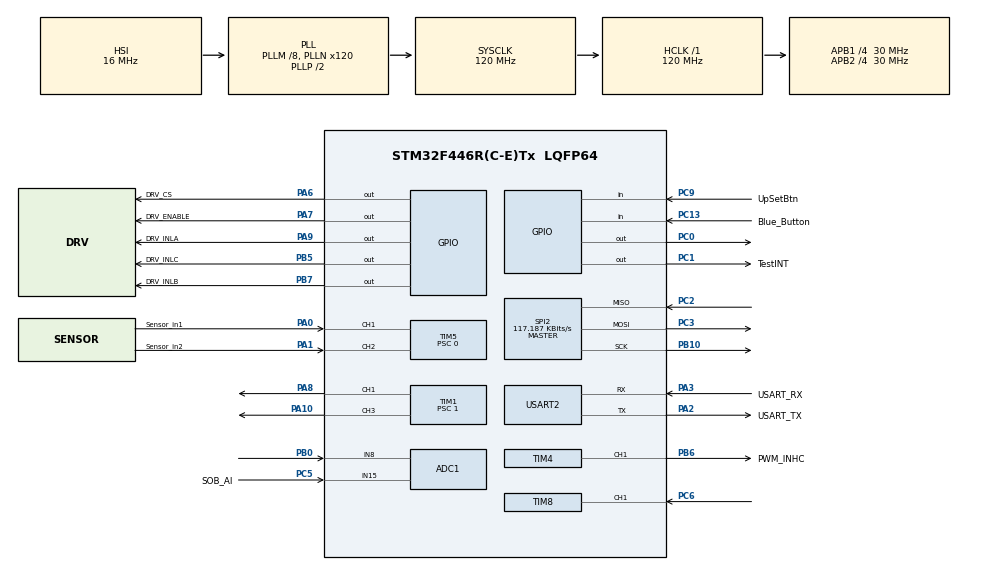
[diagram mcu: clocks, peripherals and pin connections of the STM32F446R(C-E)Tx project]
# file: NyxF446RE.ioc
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ADC1.Channel-0\#ChannelRegularConversion=ADC_CHANNEL_15
ADC1.Channel-2\#ChannelInjectedConversion=ADC_CHANNEL_8
ADC1.Channel-3\#ChannelInjectedConversion=ADC_CHANNEL_15
ADC1.DMAContinuousRequests=DISABLE
ADC1.EOCSelection=ADC_EOC_SINGLE_CONV
ADC1.ExternalTrigConv=ADC_SOFTWARE_START
ADC1.ExternalTrigConvEdge=ADC_EXTERNALTRIGCONVEDGE_NONE
ADC1.ExternalTrigInjecConv=ADC_EXTERNALTRIGINJECCONV_T2_TRGO
ADC1.InjNumberOfConversion=2
ADC1.InjectedOffset-2\#ChannelInjectedConversion=0
ADC1.InjectedOffset-3\#ChannelInjectedConversion=0
ADC1.InjectedRank-2\#ChannelInjectedConversion=1
ADC1.InjectedRank-3\#ChannelInjectedConversion=2
ADC1.NbrOfConversion=1
ADC1.NbrOfConversionFlag=1
ADC1.Rank-0\#ChannelRegularConversion=1
ADC1.SamplingTime-0\#ChannelRegularConversion=ADC_SAMPLETIME_15CYCLES
ADC1.SamplingTime-2\#ChannelInjectedConversion=ADC_SAMPLETIME_3CYCLES
ADC1.SamplingTime-3\#ChannelInjectedConversion=ADC_SAMPLETIME_3CYCLES
ADC1.ScanConvMode=ENABLE
ADC1.master=1
FREERTOS.HEAP_NUMBER=4
FREERTOS.INCLUDE_xEventGroupSetBitFromISR=1
FREERTOS.INCLUDE_xTaskAbortDelay=0
FREERTOS.Tasks01=defaultTask,24,128,StartDefaultTask,Default,NULL,Static,defaultTaskBuffer,defaultTaskControlBlock;ComputationINT,8,128,ComputationINTfunc,Default,NULL,Static,ComputationINTBuffer,ComputationINTControlBlock;testTask500ms,40,512,testTask500msFunc,Default,NULL,Static,testTask500msBuffer,testTask500msControlBlock
FREERTOS.configENABLE_FPU=1
FREERTOS.configUSE_NEWLIB_REENTRANT=1
Mcu.Family=STM32F4
Mcu.Name=STM32F446R(C-E)Tx
Mcu.Package=LQFP64
NVIC.PriorityGroup=NVIC_PRIORITYGROUP_4
NVIC.TIM1_UP_TIM10_IRQn=true\:5\:0\:false\:false\:true\:true\:false\:true
NVIC.TIM5_IRQn=true\:5\:0\:false\:true\:true\:2\:true\:true\:true
NVIC.TIM6_DAC_IRQn=true\:15\:0\:false\:false\:true\:false\:false\:true
NVIC.TIM8_CC_IRQn=true\:5\:0\:false\:true\:true\:1\:true\:true\:true
NVIC.TIM8_UP_TIM13_IRQn=true\:5\:0\:false\:false\:true\:true\:true\:true
NVIC.TimeBase=TIM6_DAC_IRQn
NVIC.TimeBaseIP=TIM6
PA0-WKUP.GPIO_Label=Sensor_in1
PA0-WKUP.GPIO_Speed=GPIO_SPEED_FREQ_HIGH
PA0-WKUP.Signal=S_TIM5_CH1
PA1.GPIO_Label=Sensor_in2
PA1.GPIO_Speed=GPIO_SPEED_FREQ_HIGH
PA1.Signal=S_TIM5_CH2
PA10.Signal=S_TIM1_CH3
PA13.GPIO_Label=TMS
PA13.Mode=Serial_Wire
PA13.Signal=SYS_JTMS-SWDIO
PA14.GPIO_Label=TCK
PA14.Mode=Serial_Wire
PA14.Signal=SYS_JTCK-SWCLK
PA2.GPIO_Label=USART_TX
PA2.Mode=Asynchronous
PA2.Signal=USART2_TX
PA3.GPIO_Label=USART_RX
PA3.Mode=Asynchronous
PA3.Signal=USART2_RX
PA6.GPIO_Label=DRV_CS
PA6.GPIO_ModeDefaultOutputPP=GPIO_MODE_OUTPUT_PP
PA6.GPIO_PuPd=GPIO_PULLDOWN
PA6.GPIO_Speed=GPIO_SPEED_FREQ_MEDIUM
PA6.Signal=GPIO_Output
PA7.GPIO_Label=DRV_ENABLE
PA7.GPIO_PuPd=GPIO_NOPULL
PA7.GPIO_Speed=GPIO_SPEED_FREQ_LOW
PA7.PinState=GPIO_PIN_SET
PA7.Signal=GPIO_Output
PA8.Signal=S_TIM1_CH1
PA9.GPIO_Label=DRV_INLA
PA9.Signal=GPIO_Output
PB0.Signal=ADCx_IN8
PB10.Mode=Full_Duplex_Master
PB10.Signal=SPI2_SCK
PB3.GPIO_Label=SWO
PB3.Signal=SYS_JTDO-SWO
PB5.GPIO_Label=DRV_INLC
PB5.Signal=GPIO_Output
PB6.GPIO_Label=PWM_INHC
PB6.Signal=S_TIM4_CH1
PB7.GPIO_Label=DRV_INLB
PB7.Signal=GPIO_Output
PC0.Signal=GPIO_Output
PC1.GPIO_Label=TestINT
PC1.GPIO_PuPd=GPIO_PULLDOWN
PC1.Signal=GPIO_Output
PC13.GPIO_Label=Blue_Button
PC13.GPIO_PuPd=GPIO_PULLDOWN
PC13.Signal=GPIO_Input
PC14-OSC32_IN.Signal=RCC_OSC32_IN
PC15-OSC32_OUT.Signal=RCC_OSC32_OUT
PC2.Mode=Full_Duplex_Master
PC2.Signal=SPI2_MISO
PC3.Mode=Full_Duplex_Master
PC3.Signal=SPI2_MOSI
PC5.GPIO_Label=SOB_AI
PC5.Signal=ADCx_IN15
PC6.GPIO_Speed=GPIO_SPEED_FREQ_MEDIUM
PC6.Signal=S_TIM8_CH1
PC9.GPIO_Label=UpSetBtn
PC9.GPIO_PuPd=GPIO_NOPULL
PC9.Signal=GPIO_Input
ProjectManager.HeapSize=0x200
ProjectManager.StackSize=0x400
ProjectManager.TargetToolchain=STM32CubeIDE
RCC.48MHZClocksFreq_Value=84000000
RCC.AHBFreq_Value=120000000
RCC.APB1CLKDivider=RCC_HCLK_DIV4
RCC.APB1Freq_Value=30000000
RCC.APB1TimFreq_Value=60000000
RCC.APB2CLKDivider=RCC_HCLK_DIV4
RCC.APB2Freq_Value=30000000
RCC.APB2TimFreq_Value=60000000
RCC.CortexFreq_Value=120000000
RCC.FLatency-AdvancedSettings=FLASH_LATENCY_3
RCC.HCLKFreq_Value=120000000
RCC.HSE_VALUE=8000000
RCC.HSI_VALUE=16000000
RCC.PLLM=8
RCC.PLLN=120
RCC.SYSCLKFreq_VALUE=120000000
RCC.SYSCLKSource=RCC_SYSCLKSOURCE_PLLCLK
RCC.USBFreq_Value=120000000
RCC.VCOOutputFreq_Value=240000000
SH.ADCx_IN15.0=ADC1_IN15,IN15
SH.ADCx_IN8.0=ADC1_IN8,IN8
SH.S_TIM1_CH1.0=TIM1_CH1,PWM Generation1 CH1
SH.S_TIM1_CH3.0=TIM1_CH3,PWM Generation3 CH3
SH.S_TIM4_CH1.0=TIM4_CH1,PWM Generation1 CH1
SH.S_TIM5_CH1.0=TIM5_CH1,Encoder_Interface
SH.S_TIM5_CH2.0=TIM5_CH2,Encoder_Interface
SH.S_TIM8_CH1.0=TIM8_CH1,PWM_Input_1
SPI2.BaudRatePrescaler=SPI_BAUDRATEPRESCALER_256
SPI2.CLKPhase=SPI_PHASE_2EDGE
SPI2.CalculateBaudRate=117.187 KBits/s
SPI2.DataSize=SPI_DATASIZE_16BIT
SPI2.Direction=SPI_DIRECTION_2LINES
SPI2.Mode=SPI_MODE_MASTER
SPI2.VirtualType=VM_MASTER
TIM1.Channel-PWM\ Generation1\ CH1=TIM_CHANNEL_1
TIM1.Channel-PWM\ Generation3\ CH3=TIM_CHANNEL_3
TIM1.CounterMode=TIM_COUNTERMODE_CENTERALIGNED3
TIM1.LockLevel=TIM_LOCKLEVEL_1
TIM1.OCPolarity_1=TIM_OCPOLARITY_LOW
TIM1.OCPolarity_3=TIM_OCPOLARITY_LOW
TIM1.Period=500
TIM1.Prescaler=1
TIM1.TIM_MasterOutputTrigger=TIM_TRGO_ENABLE
TIM1.TIM_MasterSlaveMode=TIM_MASTERSLAVEMODE_DISABLE
TIM10.Period=375
TIM10.Prescaler=8
TIM2.Period=999
TIM2.Prescaler=1
TIM2.TIM_MasterOutputTrigger=TIM_TRGO_UPDATE
TIM4.Channel-PWM\ Generation1\ CH1=TIM_CHANNEL_1
TIM4.CounterMode=TIM_COUNTERMODE_CENTERALIGNED3
TIM4.OCPolarity_1=TIM_OCPOLARITY_LOW
TIM4.Period=500
TIM4.Prescaler=1
TIM4.Pulse-PWM\ Generation1\ CH1=0
TIM4.TIM_MasterOutputTrigger=TIM_TRGO_UPDATE
TIM4.TIM_MasterSlaveMode=TIM_MASTERSLAVEMODE_DISABLE
TIM5.AutoReloadPreload=TIM_AUTORELOAD_PRELOAD_ENABLE
TIM5.EncoderMode=TIM_ENCODERMODE_TI12
TIM5.IC1Filter=0
TIM5.IC2Filter=0
TIM5.Prescaler=0
TIM8.ICFilter_1=15
TIM8.ICFilter_2=15
TIM8.Period=4096
TIM8.Prescaler=27
USART2.VirtualMode=VM_ASYNC
VP_FREERTOS_VS_CMSIS_V2.Mode=CMSIS_V2
VP_SYS_VS_tim6.Mode=TIM6
VP_TIM10_VS_ClockSourceINT.Mode=Enable_Timer
VP_TIM1_VS_ClockSourceINT.Mode=Internal
VP_TIM2_VS_ClockSourceINT.Mode=Internal
VP_TIM2_VS_ClockSourceITR.Mode=TriggerSource_ITR0
VP_TIM2_VS_ControllerModeReset.Mode=Reset Mode
VP_TIM4_VS_ClockSourceINT.Mode=Internal
VP_TIM4_VS_ClockSourceITR.Mode=TriggerSource_ITR0
VP_TIM4_VS_ControllerModeReset.Mode=Reset Mode
VP_TIM8_VS_ClockSourceINT.Mode=Internal
board=NUCLEO-F446RE

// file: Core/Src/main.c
/* USER CODE BEGIN Header */
/**
  ******************************************************************************
  * @file           : main.c
  * @brief          : Main program body
  ******************************************************************************
  * @attention
  *
  * <h2><center>&copy; Copyright (c) 2021 STMicroelectronics.
  * All rights reserved.</center></h2>
  *
  * This software component is licensed by ST under BSD 3-Clause license,
  * the "License"; You may not use this file except in compliance with the
  * License. You may obtain a copy of the License at:
  *                        opensource.org/licenses/BSD-3-Clause
  *
  ******************************************************************************
  */
/* USER CODE END Header */
#include "main.h"
#include "cmsis_os.h"
#include "adc.h"
#include "spi.h"
#include "tim.h"
#include "usart.h"
#include "gpio.h"

/* USER CODE BEGIN Includes */

#include "MotorControlLib.h"
#include "MotorControlLib_types.h"
#include "InterfaceBswApp.h"
#include "limits.h"
/* USER CODE END Includes */

/* USER CODE BEGIN PD */
volatile uint16_t ICValueFalling=0;
volatile uint16_t ICValueRising=0;
/* USER CODE END PD */

/* USER CODE BEGIN PM */
#define  ARM_CM_DEMCR      (*(uint32_t *)0xE000EDFC)

#define  ARM_CM_DWT_CTRL   (*(uint32_t *)0xE0001000)

#define  ARM_CM_DWT_CYCCNT (*(uint32_t *)0xE0001004)
/* USER CODE END PM */

/* USER CODE BEGIN PV */
extern void initialise_monitor_handles(void);
/* USER CODE END PV */

void SystemClock_Config(void);
void MX_FREERTOS_Init(void);
static void MX_NVIC_Init(void);
/* USER CODE BEGIN PFP */
volatile uint16_t adcBuffer[3]; // Buffer for store the results of the ADC conversion
volatile uint16_t DmaBuffer[3]; // Buffer for store the results of the ADC-DMA conversion
int16_t autoCalADCVal[2];
volatile uint16_t Duty;
uint32_t PWMICTimerSpeed;
volatile uint8_t switch_dca_input=0;
RCC_ClkInitTypeDef ClockInfos;
uint8_t zero=0;
/* USER CODE END PFP */

int main(void)
{

  /* MCU Configuration--------------------------------------------------------*/

  /* Reset of all peripherals, Initializes the Flash interface and the Systick. */
  HAL_Init();

  /* USER CODE BEGIN Init */
  DebugCntr = ((uint32_t*) 0xE0001004);
  /* USER CODE END Init */

  /* Configure the system clock */
  SystemClock_Config();

  /* USER CODE BEGIN SysInit */
  //MX_DMA_Init();
  /* USER CODE END SysInit */

  /* Initialize all configured peripherals */
  MX_GPIO_Init();
  MX_USART2_UART_Init();
  MX_ADC1_Init();
  MX_TIM8_Init();
  MX_SPI2_Init();
  MX_TIM5_Init();
  MX_TIM10_Init();
  MX_TIM1_Init();
  MX_TIM4_Init();
  MX_TIM2_Init();

  /* Initialize interrupts */
  MX_NVIC_Init();
  /* USER CODE BEGIN 2 */
  SET_BIT(htim8.Instance->CR1,TIM_CR1_URS); //Set timer overflow as interrupt source.
  SET_BIT(htim5.Instance->CR1,TIM_CR1_URS); //Set timer overflow as interrupt source.
  SET_BIT(htim5.Instance->DIER,TIM_DIER_UIE); //Enable interrupt.
  MotorControlLib_initialize();
  //ConvertPWMtoAngle(&zero);
  //PWMICTimerSpeed = CalculateTimerSpeedForPWMInput(&htim8); /* Todo check the correct clock to be used for pwm IC*/
#ifdef SEMIHOSTING
  initialise_monitor_handles(); /* Semihosting specific*/
#endif
  /* USER CODE END 2 */

  /* Init scheduler */
  osKernelInitialize();  /* Call init function for freertos objects (in freertos.c) */
  MX_FREERTOS_Init();
  /* Start scheduler */
  osKernelStart();

  /* We should never get here as control is now taken by the scheduler */
  /* Infinite loop */
  while (1)
  {

  }
}

void SystemClock_Config(void)
{
  RCC_OscInitTypeDef RCC_OscInitStruct = {0};
  RCC_ClkInitTypeDef RCC_ClkInitStruct = {0};

  /** Configure the main internal regulator output voltage
  */
  __HAL_RCC_PWR_CLK_ENABLE();
  __HAL_PWR_VOLTAGESCALING_CONFIG(PWR_REGULATOR_VOLTAGE_SCALE3);
  /** Initializes the RCC Oscillators according to the specified parameters
  * in the RCC_OscInitTypeDef structure.
  */
  RCC_OscInitStruct.OscillatorType = RCC_OSCILLATORTYPE_HSI;
  RCC_OscInitStruct.HSIState = RCC_HSI_ON;
  RCC_OscInitStruct.HSICalibrationValue = RCC_HSICALIBRATION_DEFAULT;
  RCC_OscInitStruct.PLL.PLLState = RCC_PLL_ON;
  RCC_OscInitStruct.PLL.PLLSource = RCC_PLLSOURCE_HSI;
  RCC_OscInitStruct.PLL.PLLM = 8;
  RCC_OscInitStruct.PLL.PLLN = 120;
  RCC_OscInitStruct.PLL.PLLP = RCC_PLLP_DIV2;
  RCC_OscInitStruct.PLL.PLLQ = 2;
  RCC_OscInitStruct.PLL.PLLR = 2;
  if (HAL_RCC_OscConfig(&RCC_OscInitStruct) != HAL_OK)
  {
    Error_Handler();
  }
  /** Initializes the CPU, AHB and APB buses clocks
  */
  RCC_ClkInitStruct.ClockType = RCC_CLOCKTYPE_HCLK|RCC_CLOCKTYPE_SYSCLK
                              |RCC_CLOCKTYPE_PCLK1|RCC_CLOCKTYPE_PCLK2;
  RCC_ClkInitStruct.SYSCLKSource = RCC_SYSCLKSOURCE_PLLCLK;
  RCC_ClkInitStruct.AHBCLKDivider = RCC_SYSCLK_DIV1;
  RCC_ClkInitStruct.APB1CLKDivider = RCC_HCLK_DIV4;
  RCC_ClkInitStruct.APB2CLKDivider = RCC_HCLK_DIV4;

  if (HAL_RCC_ClockConfig(&RCC_ClkInitStruct, FLASH_LATENCY_3) != HAL_OK)
  {
    Error_Handler();
  }
}

/**
  * @brief NVIC Configuration.
  * @retval None
  */
static void MX_NVIC_Init(void)
{
  /* TIM8_CC_IRQn interrupt configuration */
  HAL_NVIC_SetPriority(TIM8_CC_IRQn, 5, 0);
  HAL_NVIC_EnableIRQ(TIM8_CC_IRQn);
  /* TIM5_IRQn interrupt configuration */
  HAL_NVIC_SetPriority(TIM5_IRQn, 5, 0);
  HAL_NVIC_EnableIRQ(TIM5_IRQn);
}

/* USER CODE BEGIN 4 */
 void HAL_TIM_IC_CaptureCallback(TIM_HandleTypeDef *htim)
{

	 if (htim->Instance == TIM8) {

		 static uint8_t isTheFirstRisingEdgeAfterReset=1U;
		 float resDiv=0.0f;
		 uint16_t Dutytmp;

		 Dutytmp = Duty; //store old value for more security.

		 if ((htim->Channel == HAL_TIM_ACTIVE_CHANNEL_1)&(isTheFirstRisingEdgeAfterReset))  //rising edge after reset
		 	 {

			 isTheFirstRisingEdgeAfterReset = 0U; // Reset State

			 Duty = 0U;
		}
		else if ((htim->Channel == HAL_TIM_ACTIVE_CHANNEL_1)&(!(isTheFirstRisingEdgeAfterReset))) { // rising edge

			hasTimer8Overflowed = 0U;
			ICValueRising = HAL_TIM_ReadCapturedValue(htim, TIM_CHANNEL_1); //measures all the pulse time on + off,add on for the first clock
			ICValueFalling = HAL_TIM_ReadCapturedValue(htim, TIM_CHANNEL_2); //check if it is the first read

			if(ICValueRising < ICValueFalling) {

				// pwm input is not valid
				Duty = Dutytmp; //use the old value
				hasMathOverflowed_PWMin = 1U;
				countWrongSignals++;

				return;
			}
			else {
			//signal is valid

				if(ICValueRising != 0) {
				//avoid divion with zero
				   resDiv = ((float)ICValueFalling)/((float)ICValueRising);
				   Duty = (uint16_t)(resDiv * 4096.0f);
				   hasPWMSignalbeenread = 1;
				}
				else {
					// division with zero could occurred

					hasMathOverflowed_PWMin = 1U;
					Duty = Dutytmp; //use the old value
					return;
				}

			}

		}

		else if ((htim->Channel == HAL_TIM_ACTIVE_CHANNEL_2)&(!(isTheFirstRisingEdgeAfterReset))) {// falling edge
			/* ICValueRising = HAL_TIM_ReadCapturedValue(htim, TIM_CHANNEL_1); //measures all the pulse time on + off,add on for the first clock
			ICValueFalling = HAL_TIM_ReadCapturedValue(htim, TIM_CHANNEL_2); //check if it is the first read

			 eq : Duty = ((ICValueRising - ICValueFalling) * 100)/4096;
			* uint32 is a long integer in this configuration.
			if (__builtin_usubl_overflow(ICValueRising,ICValueFalling,&resSub))  {
			    // overflowed
			    Duty = 0;
			    hasMathOverflowed_PWMin = 1;
			}
			else {

				if (__builtin_umull_overflow(resSub,4096,&resMul)) {
					// overflowed
					Duty = 0;
					hasMathOverflowed_PWMin = 1;
				}
				else {
					// if we reach this, we have the correct result.
					Duty = (uint16_t)(resMul/ICValueRising);
				}

			}
		*/}
		 // trap, should never occur
		 if(Duty>4096) {
			 qSoll=0;
			 set_PWM_A_DT(250U);
			 set_PWM_B_DT(250U);
			 set_PWM_C_DT(250U);
			 while(1){}
		 }
	 }
	 else { // not TIM8

		 //nothing to do
	 }
}

/* USER CODE END 4 */

void HAL_TIM_PeriodElapsedCallback(TIM_HandleTypeDef *htim)
{
  /* USER CODE BEGIN Callback 0 */
	if(htim->Instance==TIM5)
	  {
		static char firstCall=0; /* After Reset the uC calls the routine without reason TODO */
		if(firstCall!=0) {
			/* this is the interrupt routine when the timer 5 overflows in encoder mode. TIM5 is the sensor for the motor rotation   */
			if (EncoderCounterHasOverflowed==1) {
				/* set error, this is not normal */
				EncoderCounterHasOverflowedErrorFlag = 1;
			}
			else {
				/* the timer has overflowed */
				EncoderCounterHasOverflowed = 1;
			}
		}
		else if (firstCall==0){
			/* skip first call after reset */
			firstCall=1;
		}

		//__HAL_TIM_GET_COUNTER
	  }
  /* USER CODE END Callback 0 */
  if (htim->Instance == TIM6) {
    HAL_IncTick();
  }
  /* USER CODE BEGIN Callback 1 */
  if(htim->Instance==TIM10)
  {
	  	  if( 1/*hasPWMSignalbeenread==1 (Todo removed for testing)*/) {  /*Start the FOC code when the PWM input interrupt has been called first */

	  	  BaseType_t xHigherPriorityTaskWoken = pdFALSE;
	  	  vTaskNotifyGiveFromISR(ComputationINTHandle,&xHigherPriorityTaskWoken);
	  	  portYIELD_FROM_ISR(xHigherPriorityTaskWoken);

	  	  }
  }

  if(htim->Instance==TIM8) {

	  static uint32_t res=0U;
	  float resDiv=0.0f;

	  if (hasTimer8Overflowed < UINT8_MAX) {
		    hasTimer8Overflowed ++;
	  }

	  if (hasTimer8Overflowed > 10) { // too many overflows, signal is not present.
			Duty = 0;
			NoSignal_PWMin = 1;
			return;
	  }
	  else if(hasTimer8Overflowed < 10) {
			NoSignal_PWMin = 0;
	  }

	  ICValueRising = HAL_TIM_ReadCapturedValue(htim, TIM_CHANNEL_1); //measures all the pulse time on + off,add on for the first clock
	  ICValueFalling = HAL_TIM_ReadCapturedValue(htim, TIM_CHANNEL_2); //check if it is the first read

	  /* eq : Duty = ((ICValueRising - ICValueFalling) * 100)/4096;
	  * uint32 is a long integer in this configuration. */
	  if (__builtin_usubl_overflow(ICValueRising,ICValueFalling,&res))  {
			// overflowed

		Duty = 0;

		hasMathOverflowed_PWMin = 1;

	  }
	  else {

			if(ICValueRising != 0) {
				//avoid divion with zero
				resDiv = ((float)ICValueFalling)/((float)ICValueRising);
				Duty = (uint16_t)(resDiv * 4096.0f);
				hasPWMSignalbeenread = 1;
			}
			else {
				//do nothing
			}
		}

  }
  /* USER CODE END Callback 1 */
}

void Error_Handler(void)
{
  __disable_irq();
  while (1)
  {
  }
}

/************************ (C) COPYRIGHT STMicroelectronics *****END OF FILE****/

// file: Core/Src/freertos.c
/* USER CODE BEGIN Header */
/**
  ******************************************************************************
  * File Name          : freertos.c
  * Description        : Code for freertos applications
  ******************************************************************************
  * @attention
  *
  * <h2><center>&copy; Copyright (c) 2021 STMicroelectronics.
  * All rights reserved.</center></h2>
  *
  * This software component is licensed by ST under Ultimate Liberty license
  * SLA0044, the "License"; You may not use this file except in compliance with
  * the License. You may obtain a copy of the License at:
  *                             www.st.com/SLA0044
  *
  ******************************************************************************
  */
/* USER CODE END Header */

#include "FreeRTOS.h"
#include "task.h"
#include "main.h"
#include "cmsis_os.h"

/* USER CODE BEGIN Includes */
#include "portmacro.h"
#include "tim.h"
#include "adc.h"
#include "InterfaceBswApp.h"
#include "MotorControlLib.h"
#include <stdio.h>
/*todo to be removed*/
#include "convertSingleTo12bit_private.h"
/* USER CODE END Includes */

typedef StaticTask_t osStaticThreadDef_t;

/* USER CODE BEGIN PD */

#define  ARM_CM_DEMCR      (*(uint32_t *)0xE000EDFC)

#define  ARM_CM_DWT_CTRL   (*(uint32_t *)0xE0001000)

#define  ARM_CM_DWT_CYCCNT (*(uint32_t *)0xE0001004)
/* USER CODE END PD */

/* USER CODE BEGIN PM */
volatile uint8_t manualBreak=0;
volatile uint8_t automaticBreak=0;
volatile uint16_t GainTest=0U;
volatile float AngleDVDT=0.02F;
volatile float Q_P=0;
volatile float Q_I=0;
volatile float D_P=0;
volatile float D_I=0;
volatile float RPM_P=0;
volatile float RPM_I=0;
volatile uint16_t Kp_rpm=0U;
volatile uint16_t Ki_rpm=0U;
/* USER CODE END PM */

/* Definitions for defaultTask */
osThreadId_t defaultTaskHandle;
uint32_t defaultTaskBuffer[ 128 ];
osStaticThreadDef_t defaultTaskControlBlock;
const osThreadAttr_t defaultTask_attributes = {
  .name = "defaultTask",
  .cb_mem = &defaultTaskControlBlock,
  .cb_size = sizeof(defaultTaskControlBlock),
  .stack_mem = &defaultTaskBuffer[0],
  .stack_size = sizeof(defaultTaskBuffer),
  .priority = (osPriority_t) osPriorityNormal,
};
/* Definitions for ComputationINT */
osThreadId_t ComputationINTHandle;
uint32_t ComputationINTBuffer[ 128 ];
osStaticThreadDef_t ComputationINTControlBlock;
const osThreadAttr_t ComputationINT_attributes = {
  .name = "ComputationINT",
  .cb_mem = &ComputationINTControlBlock,
  .cb_size = sizeof(ComputationINTControlBlock),
  .stack_mem = &ComputationINTBuffer[0],
  .stack_size = sizeof(ComputationINTBuffer),
  .priority = (osPriority_t) osPriorityLow,
};
/* Definitions for testTask500ms */
osThreadId_t testTask500msHandle;
uint32_t testTask500msBuffer[ 512 ];
osStaticThreadDef_t testTask500msControlBlock;
const osThreadAttr_t testTask500ms_attributes = {
  .name = "testTask500ms",
  .cb_mem = &testTask500msControlBlock,
  .cb_size = sizeof(testTask500msControlBlock),
  .stack_mem = &testTask500msBuffer[0],
  .stack_size = sizeof(testTask500msBuffer),
  .priority = (osPriority_t) osPriorityHigh,
};

void StartDefaultTask(void *argument);
void ComputationINTfunc(void *argument);
void testTask500msFunc(void *argument);

void MX_FREERTOS_Init(void); /* (MISRA C 2004 rule 8.1) */

void MX_FREERTOS_Init(void) {

  /* Create the thread(s) */
  /* creation of defaultTask */
  defaultTaskHandle = osThreadNew(StartDefaultTask, NULL, &defaultTask_attributes);

  /* creation of ComputationINT */
  ComputationINTHandle = osThreadNew(ComputationINTfunc, NULL, &ComputationINT_attributes);

  /* creation of testTask500ms */
  testTask500msHandle = osThreadNew(testTask500msFunc, NULL, &testTask500ms_attributes);

}

void StartDefaultTask(void *argument)
{
  for(;;)
  {
    osDelay(1);
  }
}

void ComputationINTfunc(void *argument)
{
  /* USER CODE BEGIN ComputationINTfunc */
 //Called in HAL_TIM_PeriodElapsedCallback
	if (ARM_CM_DWT_CTRL != 0) {  // See if DWT is available

		ARM_CM_DEMCR |= 1 << 24; // Set bit 24

	    ARM_CM_DWT_CYCCNT = 0;

	  	ARM_CM_DWT_CTRL |= 1 << 0;  // Set bit 0

	  }

	  static float test_angle=0;
	  static uint16_t t=0;
	  static uint16_t l=0;

	/*Configure GPIO pin Output Level */
	HAL_GPIO_WritePin(DRV_INLA_GPIO_Port, DRV_INLA_Pin, GPIO_PIN_SET);

	/*Configure GPIO pin Output Level */
	HAL_GPIO_WritePin(DRV_INLB_GPIO_Port, DRV_INLC_Pin|DRV_INLB_Pin, GPIO_PIN_SET);

	HAL_TIM_IC_Start_IT(&htim8, TIM_CHANNEL_1);   // enable falling and rising edge int
	HAL_TIM_IC_Start_IT(&htim8, TIM_CHANNEL_2);
    __HAL_TIM_ENABLE_IT(&htim8,TIM_IT_UPDATE);    // enable timer overflow int.

    HAL_TIM_PWM_Start(&htim4,TIM_CHANNEL_1);
    HAL_TIM_Base_Start(&htim2);
    //Start PWM on CH1 and CH1N
    HAL_TIM_PWM_Start(&htim1,TIM_CHANNEL_1);
    //HAL_TIMEx_PWMN_Start(&htim1,TIM_CHANNEL_1);

    //Start PWM on CH3 and CH3N
    HAL_TIM_PWM_Start(&htim1,TIM_CHANNEL_3);
    //HAL_TIMEx_PWMN_Start(&htim1,TIM_CHANNEL_3);

    /*  Start DRV8304 Calibration always after ADC is working and will be triggered! */
    /*set High side Mosfet to LOW for the calibration. CAUTION - PWM signal is inverted -*/
	__HAL_TIM_SET_COMPARE(&htim1,TIM_CHANNEL_1,(uint16_t)500);
	__HAL_TIM_SET_COMPARE(&htim1,TIM_CHANNEL_3,(uint16_t)500);
	__HAL_TIM_SET_COMPARE(&htim4,TIM_CHANNEL_1,(uint16_t)500);

	HAL_ADCEx_InjectedStart(&hadc1);
	//HAL_ADCEx_InjectedStart(&hadc2);
	//HAL_ADC_Start_DMA(&hadc1,(uint32_t*) DmaBuffer, 1); // Start ADC in DMA mode and declare the buffer where store the results

	HAL_Delay(5); //wait 5ms to start DMA from ADC1 value transfer
	autoCalADCVal[1] = (int16_t)(2048 - HAL_ADCEx_InjectedGetValue(&hadc1,ADC_INJECTED_RANK_1));
	autoCalADCVal[0] = (int16_t)(2048 - HAL_ADCEx_InjectedGetValue(&hadc1,ADC_INJECTED_RANK_2));

    /*  Stop DRV8304 Calibration */

	/* Set Bridge to zero virtual voltage */
	__HAL_TIM_SET_COMPARE(&htim1,TIM_CHANNEL_1,(uint16_t)250);
	__HAL_TIM_SET_COMPARE(&htim1,TIM_CHANNEL_3,(uint16_t)250);
	__HAL_TIM_SET_COMPARE(&htim4,TIM_CHANNEL_1,(uint16_t)250);

	HAL_TIM_Encoder_Start(&htim5,TIM_CHANNEL_ALL);
	HAL_TIM_Base_Start_IT(&htim10);

	//__HAL_TIM_ENABLE_IT(&htim8,TIM_IT_UPDATE);    // enable timer overflow int.

	/* Infinite loop */
	for(;;)
	  {
		  volatile uint32_t start=0,stop=0;
		  static uint8_t scheduler_200us=0; /* this variable will be incremented every ca. 50 us */
		  /* Will be woken up by timer interrupt*/
		  ulTaskNotifyTake(pdTRUE,portMAX_DELAY);
		  countInteruptsinOut++;
		  scheduler_200us++;

		  if((StepFunctionisStillRunning==0)&(scheduler_200us==3)) {

			  portDISABLE_INTERRUPTS(); //cmsis Code
			  //HAL_GPIO_WritePin(TestINT_GPIO_Port, TestINT_Pin,GPIO_PIN_SET);
			  StepFunctionisStillRunning = 1;
			  /* Reset Scheduler*/
			  scheduler_200us = 0;

			  /* Debug Variables start */
			  Q_P = (real32_T) Kp_qAxis * 0.00390625;
			  Q_I = (real32_T) Ki_qAxis * 0.00390625;//2^-8
			  D_P = (real32_T) Kp_dAxis * 0.00390625;
			  D_I = (real32_T) Ki_dAxis * 0.00390625;//2^-8
			  RPM_P = (real32_T) Kp_rpm * 0.00048828125;
			  RPM_I = (real32_T) Ki_rpm * 0.00048828125;//2^-11
			  /* Debug Variables end */

			  disablePWMInputTimer();
			  adcBuffer[0] = (uint16_t)HAL_ADCEx_InjectedGetValue(&hadc1,ADC_INJECTED_RANK_2);
			  //HAL_ADC_Stop_DMA(&hadc1);
			  adcBuffer[1] = (int16_t)HAL_ADCEx_InjectedGetValue(&hadc1,ADC_INJECTED_RANK_1);

			  start = rCpuClocks();
			  d_q_Voltage_Limiter_sat_neg = -1 * d_q_Voltage_Limiter_sat_pos;
			  EncoderCounter = __HAL_TIM_GET_COUNTER(&htim5);
			  MotorControlLib_step1();
				  /*static uint16_t a;
				  a=look1_iflftu16Df_binlcpw(Sig_theta_el_m,
					      convertSingleTo12bit_ConstP.nDLookupTable_bp01Data,
					      convertSingleTo12bit_ConstP.nDLookupTable_tableData, 1U);
		          __HAL_TIM_SET_COMPARE(&htim2,TIM_CHANNEL_1,a);*/
			  stop = rCpuClocks();

#ifdef EXTENDED_DEBUG
	  //if ((MotorControlLib_M->Timing.TaskCounters.TID[1] == 0)&&(qSoll!=0)&&(dbg_obj.k<=(MAX_DBG_BUFFERSIZE-1))) { /* this is to write only the start */
	  if (scheduler_200us == 0) {

				if(dbg_obj.k>(MAX_DBG_BUFFERSIZE-1)) {

					dbg_obj.k=0;

					}

				dbg_obj.dbgadcBuffer_0[dbg_obj.k] = adcBuffer[0];
				dbg_obj.dbgadcBuffer_1[dbg_obj.k] = adcBuffer[1];
				dbg_obj.dbgSig_Ia_m[dbg_obj.k]= Sig_Ia_m;
				dbg_obj.dbgSig_Ib_m[dbg_obj.k]=Sig_Ib_m;
				dbg_obj.dbgSig_Va_m[dbg_obj.k]=Sig_Va_m;
				dbg_obj.dbgSig_Vb_m[dbg_obj.k]=Sig_Vb_m;
				dbg_obj.dbgSig_Valpha_m[dbg_obj.k]=Sig_Valpha_m;
				dbg_obj.dbgSig_Vbeta_m[dbg_obj.k]=Sig_Vbeta_m;
				dbg_obj.dbgSig_Vgamma_m[dbg_obj.k]=Sig_Vgamma_m;
				dbg_obj.dbgSig_Vqsatu_m[dbg_obj.k]=Sig_Vqsatu_m;
				dbg_obj.dbgSig_Vdsatu_m[dbg_obj.k]=Sig_Vdsatu_m;
				dbg_obj.dbgSig_qAxis_error[dbg_obj.k]=Sig_qAxis_errorSum_m;
				dbg_obj.dbgSig_dAxis_error[dbg_obj.k]=Sig_dAxis_errorSum_m;
				dbg_obj.dbgSig_dAxis_PI_out[dbg_obj.k]= Sig_dAxis_PI_out;
				dbg_obj.dbgSig_qAxis_PI_out[dbg_obj.k]= Sig_qAxis_PI_out;
				dbg_obj.dbgSig_theta_el_m[dbg_obj.k]=Sig_theta_el_m;
				dbg_obj.dbgqSoll[dbg_obj.k]=qSoll;
				dbg_obj.dbg_Iq_axis_meas[dbg_obj.k]=Sig_Iq_axis_meas;
				dbg_obj.dbgPI_q_Integrator[dbg_obj.k]=0;
				dbg_obj.dbgKpq[dbg_obj.k]=Kp_qAxis;
				dbg_obj.dbgKiq[dbg_obj.k]=Ki_qAxis;
				dbg_obj.dbgDuty[dbg_obj.k]=Duty;
				dbg_obj.dbgPWM_C[dbg_obj.k] = PWMdbg[0];
				dbg_obj.dbgPWM_A[dbg_obj.k] = PWMdbg[1];
				dbg_obj.dbgPWM_B[dbg_obj.k] = PWMdbg[2];
				dbg_obj.dbgEncoder[dbg_obj.k] = EncoderCounter;
				dbg_obj.dbgFlag_1[dbg_obj.k] = 0;
				dbg_obj.dbg_Id_axis_meas[dbg_obj.k] = Sig_Id_axis_meas;
				dbg_obj.dbgKiq[dbg_obj.k] = Ki_qAxis;
				dbg_obj.dbgKid[dbg_obj.k] = Ki_dAxis;
				dbg_obj.k++;
	      }
#endif
	   	if (!(HAL_GPIO_ReadPin(GPIOC,UpSetBtn_Pin) > l)) {
	   		t=0;
	   		rpmSoll = GainTest;
	   	}
	   	else if(!(HAL_GPIO_ReadPin(GPIOC,UpSetBtn_Pin) <l)) {
	   		rpmSoll =0;
	   	}
	  	if(!HAL_GPIO_ReadPin(GPIOC,UpSetBtn_Pin)) {
	  		t++;
	  		if (t>511U) {
	  			t=0;
	  			if(automaticBreak) {

#ifdef SEMIHOSTING

		writeInFile();
#endif

	  			}
	  		}

	  	}

	  	if(manualBreak) {

#ifdef SEMIHOSTING

	  	writeInFile();
#endif
	  	}

	  	clocksNeededOfMAtlabFunc = stop - start;
	  	countInteruptsinOut--;
	  	StepFunctionisStillRunning = 0;

	  	HAL_GPIO_WritePin(TestINT_GPIO_Port, TestINT_Pin,GPIO_PIN_RESET);

	  	l = !(HAL_GPIO_ReadPin(GPIOC,UpSetBtn_Pin));
	  	portENABLE_INTERRUPTS();

	  }

  }
  /* USER CODE END ComputationINTfunc */
}

void testTask500msFunc(void *argument)
{
  /* USER CODE BEGIN testTask500msFunc */
  portTickType xLastWakeTime;
  const portTickType xDelay = 10 / portTICK_RATE_MS;
  // Initialise the xLastWakeTime variable with the current time.
  xLastWakeTime = xTaskGetTickCount ();

  /* Infinite loop */
  for(;;)
  {

	  MotorControlLib_step2();
	  // Wait for the next cycle.
	  vTaskDelayUntil( &xLastWakeTime, xDelay );

  }
  /* USER CODE END testTask500msFunc */
}

/* USER CODE BEGIN Application */
#ifdef SEMIHOSTING // Log data in file
void writeInFile(void) {
		/*2500 old*/
#ifdef EXTENDED_DEBUG
			qSoll=0;
			set_PWM_A_DT(250U);
			set_PWM_B_DT(250U);
			set_PWM_C_DT(250U);

			FILE *fid;
			char* pFilename;
			float time = 0.0f;
			uint16_t index=0;
			pFilename = "NyxOutput_newProblem.csv";  // Set Filename
			//
			// Open file for writing at pPath and write pMessage into it
			// then close file.
			//
			fid = fopen(pFilename, "w+");
			//fwrite(pMessage, sizeof(char), strlen(pMessage), fid);
			fprintf(fid, "%s,%s,"
					"%s,%s,"
					"%s,%s,"
					"%s,%s,"
					"%s,%s,"
					"%s,%s,"
					"%s,%s,"
					"%s,%s,"
					"%s,%s,"
					"%s,%s,"
					"%s,%s,"
					"%s,%s,"
					"%s,%s,"
					"%s,%s\n",
					"time","qSoll",
					"Id_axis_meas", "adcBuffer_0",
					"adcBuffer_1", "Sig_Iq_axis_meas;",
					"dbgPI_q_Integrator","Sig_Va_m",
					"Sig_Vb_m","KpQ",
					"KiQ","Sig_Vgamma_m",
					"Sig_Vqsatu_m","Sig_Vdsatu_m",
					"Sig_qAxis_error","Sig_dAxis_error",
					"Sig_Valpha_m","Sig_Vbeta_m",
					"Sig_theta_el_m","Sig_qAxis_PI_out",
					"Sig_dAxis_PI_out","adcCalV0",
					"adcCalV1","Duty",
					"PWM_A","PWM_B",
					"PWM_C","EncoderCounter");

			for(int k=dbg_obj.k+1; k<=(MAX_DBG_BUFFERSIZE-1); k++) {
				  fprintf(fid, "%.4f,%i,"
						  "%f,%i,"
						  "%i,%f,"
						  "%f,%f,"
						  "%f,%i,"
						  "%i,%f,"
						  "%f,%f,"
						  "%f,%f,"
						  "%f,%f,"
						  "%f,%f,"
						  "%f,%i,"
						  "%i,%i,"
						  "%i,%i,"
						  "%i,%i\n",
						  time, dbg_obj.dbgqSoll[k],
						  dbg_obj.dbg_Id_axis_meas[k], dbg_obj.dbgadcBuffer_0[k],
						  dbg_obj.dbgadcBuffer_1[k], dbg_obj.dbg_Iq_axis_meas[k],
						  dbg_obj.dbgPI_q_Integrator[k],dbg_obj.dbgSig_Va_m[k],
						  dbg_obj.dbgSig_Vb_m[k],dbg_obj.dbgKpq[k],
						  dbg_obj.dbgKiq[k],dbg_obj.dbgSig_Vgamma_m[k],
						  dbg_obj.dbgSig_Vqsatu_m[k],dbg_obj.dbgSig_Vdsatu_m[k],
						  dbg_obj.dbgSig_qAxis_error[k],dbg_obj.dbgSig_dAxis_error[k],
						  dbg_obj.dbgSig_Valpha_m[k],dbg_obj.dbgSig_Vbeta_m[k],
						  dbg_obj.dbgSig_theta_el_m[k],dbg_obj.dbgSig_qAxis_PI_out[k],
						  dbg_obj.dbgSig_dAxis_PI_out[k],autoCalADCVal[0],
						  autoCalADCVal[1],dbg_obj.dbgDuty[k],
						  dbg_obj.dbgPWM_A[k],dbg_obj.dbgPWM_B[k],
						  dbg_obj.dbgPWM_C[k],dbg_obj.dbgEncoder[k]);
				  time+=0.0008f;
			  }

			for(int k=0;k<=dbg_obj.k; k++) {
			  				  fprintf(fid, "%.4f,%i,"
			  						  "%f,%i,"
			  						  "%i,%f,"
			  						  "%f,%f,"
			  						  "%f,%i,"
			  						  "%i,%f,"
			  						  "%f,%f,"
			  						  "%f,%f,"
			  						  "%f,%f,"
			  						  "%f,%f,"
			  						  "%f,%i,"
			  						  "%i,%i,"
			  						  "%i,%i,"
			  						  "%i,%i\n",
									  time, dbg_obj.dbgqSoll[k],
									  dbg_obj.dbg_Id_axis_meas[k], dbg_obj.dbgadcBuffer_0[k],
									  dbg_obj.dbgadcBuffer_1[k], dbg_obj.dbg_Iq_axis_meas[k],
									  dbg_obj.dbgPI_q_Integrator[k],dbg_obj.dbgSig_Va_m[k],
									  dbg_obj.dbgSig_Vb_m[k],dbg_obj.dbgKpq[k],
									  dbg_obj.dbgKiq[k],dbg_obj.dbgSig_Vgamma_m[k],
									  dbg_obj.dbgSig_Vqsatu_m[k],dbg_obj.dbgSig_Vdsatu_m[k],
									  dbg_obj.dbgSig_qAxis_error[k],dbg_obj.dbgSig_dAxis_error[k],
									  dbg_obj.dbgSig_Valpha_m[k],dbg_obj.dbgSig_Vbeta_m[k],
									  dbg_obj.dbgSig_theta_el_m[k],dbg_obj.dbgSig_qAxis_PI_out[k],
									  dbg_obj.dbgSig_dAxis_PI_out[k],0,
									  0,dbg_obj.dbgDuty[k],
									  dbg_obj.dbgPWM_A[k],dbg_obj.dbgPWM_B[k],
									  dbg_obj.dbgPWM_C[k],dbg_obj.dbgEncoder[k]);
			  	  time+=0.0008f;
			  }

			fclose(fid);

			while(1) { /* Trap software after logging data */ }

#endif
}
#endif
/* USER CODE END Application */

/************************ (C) COPYRIGHT STMicroelectronics *****END OF FILE****/
